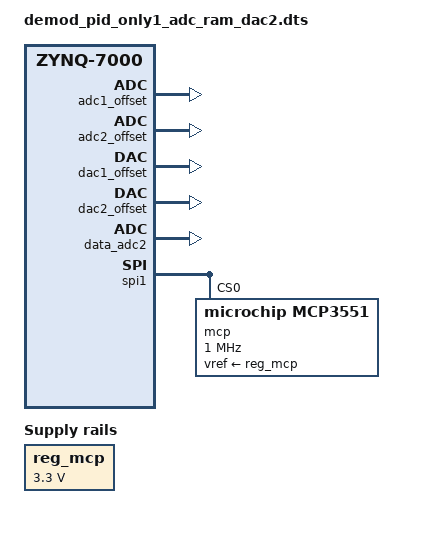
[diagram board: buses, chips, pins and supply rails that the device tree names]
/dts-v1/;
/plugin/;

/ {
	compatible = "xlnx,zynq-7000";

	fragment0 {
		target = <&fpga_full>;
		#address-cells = <1>;
		#size-cells = <1>;
		__overlay__ {
			#address-cells = <1>;
			#size-cells = <1>;

			firmware-name = "demod_pid_only1_adc_ram_dac2_wrapper.bit.bin";

			adc1_offset: adc1_offset@43C00000{
				compatible = "ggm,add_const";
				reg = <0x43C00000 0xffff>;
			};

			adc2_offset: adc2_offset@43C30000{
				compatible = "ggm,add_const";
				reg = <0x43C30000 0xffff>;
			};

			dac1_offset: dac1_offset@43CE0000{
				compatible = "ggm,add_const";
				reg = <0x43CE0000 0xffff>;
			};

			dac2_offset: dac2_offset@43C60000{
				compatible = "ggm,add_const";
				reg = <0x43C60000 0xffff>;
			};

			data_fast: data_fast@43CB0000{
				compatible = "ggm,dataToRam";
				reg = <0x43CB0000 0xffff>;
			};

			data_slow: data_slow@43CC0000{
				compatible = "ggm,dataToRam";
				reg = <0x43CC0000 0xffff>;
			};

			data_proc: data_proc@43D00000{
				compatible = "ggm,dataToRam";
				reg = <0x43D00000 0xffff>;
			};

			data_adc2: data_adc2@43C90000{
				compatible = "ggm,dataToRam";
				reg = <0x43C90000 0xffff>;
			};

			swichIQ: swichIQ@43CF0000{
				compatible = "ggm,switch";
				reg = <0x43CF0000 0xffff>;
			};

			shift_dyn_I: shift_dyn_I@43C20000{
				compatible = "ggm,fpgagen";
				reg = <0x43C20000 0xffff>;
			};

			shift_dyn_Q: shift_dyn_Q@43CA0000{
				compatible = "ggm,fpgagen";
				reg = <0x43CA0000 0xffff>;
			};

			shift_dyn_2: shift_dyn_2@43D20000{
				compatible = "ggm,fpgagen";
				reg = <0x43D20000 0xffff>;
			};

			proc_out: proc_out@43C10000{
				compatible = "ggm,axi_to_dac";
				reg = <0x43C10000 0xffff>;
			};

			pid1: pid1@43CD0000{
				compatible = "ggm,pidv3_axi";
				reg = <0x43CD0000 0xffff>;
			};

			demod1_nco: demod1_nco@43C40000{
				compatible = "ggm,nco_counter";
				reg = <0x43C40000 0xffff>;
			};

			demod2_nco: demod2_nco@43C50000{
				compatible = "ggm,nco_counter";
				reg = <0x43C50000 0xffff>;
			};

			fir_I: fir_I@43C70000{
				compatible = "ggm,fir";
				reg = <0x43C70000 0xffff>;
			};

			fir_Q: fir_Q@43C80000{
				compatible = "ggm,fir";
				reg = <0x43C80000 0xffff>;
			};

			fir_2: fir_2@43D10000{
				compatible = "ggm,fir";
				reg = <0x43D10000 0xffff>;
			};

		};
	};

	fragment1 {
		target-path = "/";
		__overlay__ {
			#address-cells = <1>;
			#size-cells = <1>;
			reg_mcp: vref-reg@0 {
				compatible ="regulator-fixed";
				reg = <1>;
				regulator-name = "vref-reg";
				regulator-min-microvolt = <3300000>;
				regulator-max-microvolt = <3300000>;
			};
		};
	};

	fragment2 {
		target = <&spi1>;
		#address-cells = <1>;
		#size-cells = <1>;
		__overlay__ {
			status = "okay";
			num-cs = <1>;
			is-decoded-cs = <0>;
			mcp: mcp@0 {
				compatible = "microchip,mcp3551";
				vref-supply = <&reg_mcp>;
				spi-max-frequency = <1000000>;
				reg = <0>;
			};
		};
	};
};
